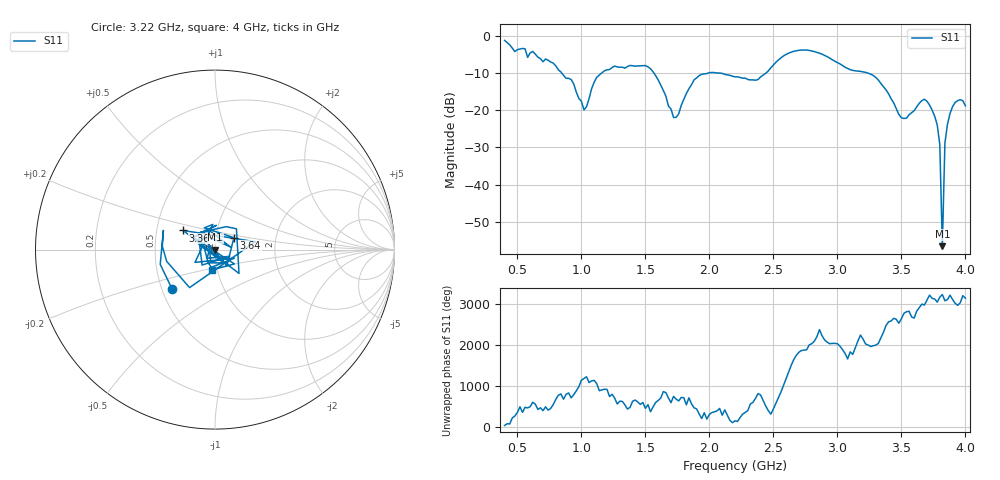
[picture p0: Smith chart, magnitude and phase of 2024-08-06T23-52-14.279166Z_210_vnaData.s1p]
!Created with skrf (http://scikit-rf.org).
# Hz S RI R 50.0
!freq ReS11 ImS11
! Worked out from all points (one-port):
!   181 points, 400 MHz to 4 GHz, reference 50 ohm
!   lowest |S11| = -56.6 dB at 3.82 GHz (marker M1), VSWR 1.00, Z = 50.1 - j0.0231 ohm
!   |S11| at or under -10 dB: 1.567 GHz to 1.989 GHz (422.2 MHz wide, 23.7 % of centre); 2.087 GHz to 2.441 GHz (354 MHz wide, 15.6 % of centre); 3.239 GHz to end of sweep (the widest 3 of 4)
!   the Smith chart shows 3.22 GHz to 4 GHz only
!   S11 on the Smith chart (normalised r, x): 3.22 GHz: 0.56, -0.28; 3.36 GHz: 0.68, +0.15; 3.64 GHz: 1.22, +0.17; 4 GHz: 0.94, -0.22
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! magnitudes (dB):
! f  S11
! 400 MHz  -1.2
! 860 MHz  -10.6
! 920 MHz  -11.7
! 1.02 GHz  -19.9
! 1.12 GHz  -11.1
! 1.3 GHz  -8.4
! 1.54 GHz  -8.8
! 1.72 GHz  -21.9
! 1.76 GHz  -21.0
! 1.92 GHz  -10.7
! 2.2 GHz  -11.0
! 2.38 GHz  -11.7
! 2.66 GHz  -4.1
! 2.86 GHz  -4.6
! 3.1 GHz  -9.1
! 3.22 GHz  -9.8
! 3.36 GHz  -13.7
! 3.5 GHz  -22.0
! 3.56 GHz  -21.2
! 3.64 GHz  -18.1
! 3.7 GHz  -17.6
! 3.78 GHz  -23.9
! 3.8 GHz  -29.2
! 3.82 GHz  -56.6
! 3.84 GHz  -28.8
! 3.86 GHz  -23.8
! 3.92 GHz  -17.9
! 4 GHz  -18.8
